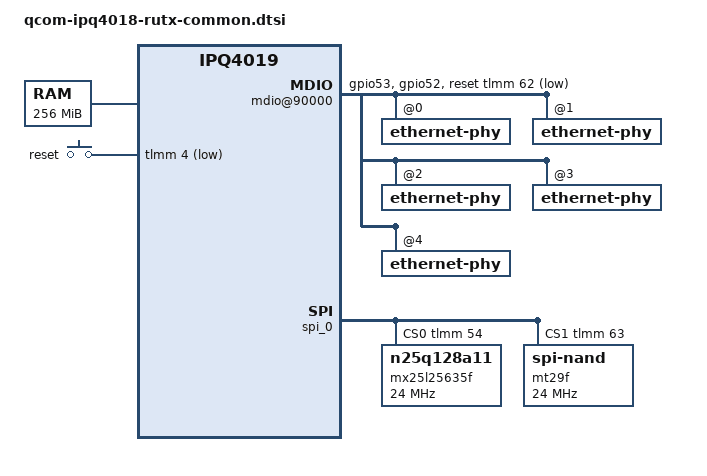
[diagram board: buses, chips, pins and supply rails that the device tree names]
#include "qcom/qcom-ipq4019-ap.dk01.1.dtsi"
#include <dt-bindings/gpio/gpio.h>
#include "platform_name.dtsi"
#include "qcom-ipq4018-rutx-i2c.dtsi"

#define BLOCK_4PIN "1"
#define BLOCK_10PIN "2"
#define BLOCK_16PIN "3"

/ {
	compatible = "teltonika,rutx", "qcom,ap-dk01.1-c2", "qcom,ipq4019";

	memory {
		device_type = "memory";
		reg = <0x80000000 0x10000000>;
	};

	chosen {
		bootargs = "console=ttyMSM0,115200";
	};

	soc {
		mdio@90000 {
			status = "ok";
			pinctrl-0 = <&mdio_pins>;
			pinctrl-names = "default";
			reset-gpios = <&tlmm 62 GPIO_ACTIVE_LOW>;

			ethernet-phy@0 {
				leds {
					eth_y0 {
						reg = <0>;
					};
					eth_g0 {
						reg = <1>;
					};
				};
			};
			ethernet-phy@1 {
				leds {
					eth_y1 {
						reg = <0>;
					};
					eth_g1 {
						reg = <1>;
					};
				};
			};
			ethernet-phy@2 {
				leds {
					eth_y2 {
						reg = <0>;
					};
					eth_g2 {
						reg = <1>;
					};
				};
			};
			ethernet-phy@3 {
				leds {
					eth_y3 {
						reg = <0>;
					};
					eth_g3 {
						reg = <1>;
					};
				};
			};
			ethernet-phy@4 {
				leds {
					eth_y4 {
						reg = <0>;
					};
					eth_g4 {
						reg = <1>;
					};
				};
			};
		};

		ess-switch@c000000 {
				resets = <&gcc ESS_RESET>, <&gcc ESS_MAC1_ARES>,
						 <&gcc ESS_MAC2_ARES>, <&gcc ESS_MAC3_ARES>,
						 <&gcc ESS_MAC4_ARES>, <&gcc ESS_MAC5_ARES>;
				reset-names = "ess_rst", "ess_mac1_rst",
							  "ess_mac2_rst", "ess_mac3_rst",
							  "ess_mac4_rst", "ess_mac5_rst";
		};

		pinctrl@1000000 {
			mdio_pins: mdio_pinmux {
				mux_1 {
					pins = "gpio53";
					function = "mdio";
					bias-pull-up;
				};
				mux_2 {
					pins = "gpio52";
					function = "mdc";
					bias-pull-up;
				};
			};
		};

		spi_0: spi@78b5000 {
			cs-gpios = <&tlmm 54 0>, <&tlmm 63 0>;
			num-cs = <2>;

			mx25l25635f@0 {
				compatible = "n25q128a11", "mx25l25635f", "jedec,spi-nor";
				#address-cells = <1>;
				#size-cells = <1>;
				reg = <0>;
				spi-max-frequency = <24000000>;
			};

			mt29f@1 {
				#address-cells = <1>;
				#size-cells = <1>;
				compatible = "spi-nand","spinand,mt29f";
				reg = <1>;
				spi-max-frequency = <24000000>;
			};
		};

		gpio_keys {
			compatible = "gpio-keys";

			reset {
				label = "reset";
				gpios = <&tlmm 4 1>;
				linux,code = <0x198>;
			};
		};
	};

	boot: boot_partition {
		label = "0:APPSBL";
	};

	config: config_partition {
		label = "0:CONFIG";
	};

	config_rw: config_rw_partition {
		label = "0:CONFIG_RW";
	};

	mnfinfo: mnfinfo {
		compatible = "sysfs-mnfinfo";
		status = "okay";

		mac {
			reg = <&config 0x0 0x6>;
			min-res-len = <0xc>;
			type = "mac";
			default = "001E42013370";
			log;
		};

		name {
			reg = <&config 0x10 0xc>;
			type = "ascii";
			default = "UNKNOWNXXXXX";
			log;
		};

		wps {
			reg = <&config 0x20 0x8>;
			type = "digit";
			sec;
		};

		serial {
			reg = <&config 0x30 0xa>;
			type = "alnum";
			default = "0000000000";
			log;
		};

		batch {
			reg = <&config 0x40 0x4>;
			type = "digit";
			default = "0000";
			log;
		};

		hwver {
			reg = <&config 0x50 0x4>;
			type = "digit";
			default = "0000";
			log;
		};

		hwver_lo {
			reg = <&config 0x54 0x4>;
			type = "digit";
			default = "0000";
			log;
		};

		branch {
			reg = <&config 0x58 0x4>;
			type = "ascii";
			default = "";
			log;
		};

		wpass {
			reg = <&config 0x90 0x10>;
			type = "ascii";
			sec;
		};

		pass {
			reg = <&config 0xa0 0x6a>;
			type = "ascii";
			sec;
		};

		sim_cfg {
			reg = <&config 0x120 0x20>;
			default = "";
			type = "simcfg";
			log;
		};

		profiles {
			reg = <&config 0x140 0x80>;
			type = "ascii";
			default = "";
		};

		blver {
			reg = <&boot 0xa0000 0xa>;
			trailling-data;
			strip-whitespaces;
			type = "ascii";
			log;
		};

		simpin1 {
			reg = <&config_rw 0x0 0x8>;
			type = "digit";
			default = "";
			sec;
		};

		simpin2 {
			reg = <&config_rw 0x10 0x8>;
			type = "digit";
			default = "";
			sec;
		};

		sim_count {
			default =  "2";
			log;
		};

		mob_cfg {
			reg = <&config 0x76 0x4>;
			type = "digit";
			default = "0000";
			sec;
		};
	};

	ioman: ioman {
		layout@0{
			io@0 { // 4pin #3
				label = "din1";
				block_type = BLOCK_4PIN;
				block_pin = "3";
				gpio_in = "GPIO_IN_1";
				io_param = "g0";
			};
			io@1 { // 4pin #4
				label = "dout1";
				block_type = BLOCK_4PIN;
				block_pin = "4";
				gpio_out = "GPIO_OUT_1";
				io_param = "g1";
			};
		};
	};
};

&usb3 {
	usb@8a00000 {
		snps,dis_u2_susphy_quirk;
		snps,dis_u3_susphy_quirk;
	};
};

&usb2 {
	usb@6000000 {
		snps,dis_u2_susphy_quirk;
	};
};
